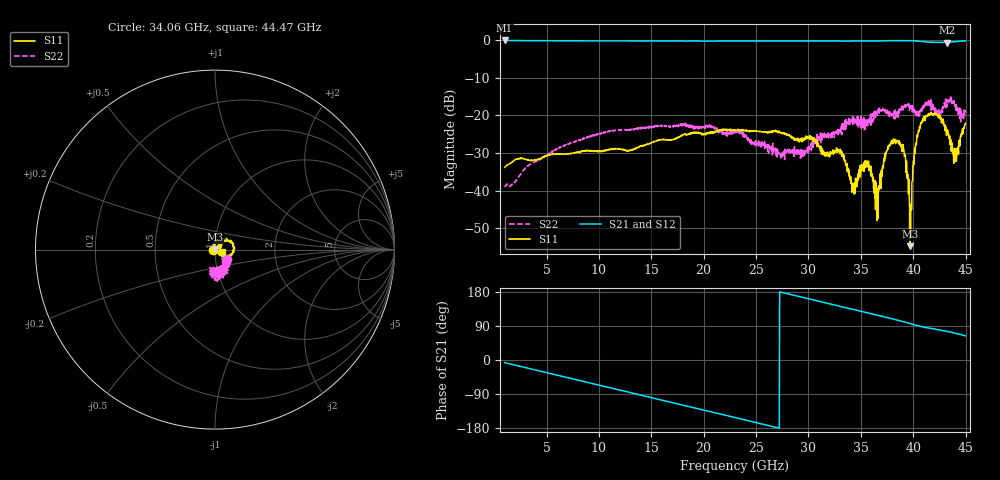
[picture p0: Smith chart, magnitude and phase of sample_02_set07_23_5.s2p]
!Keysight Technologies,N5247B,MY61255062,A.19.80.06
!Date: Friday, March 13, 2026 17:47:46
!Correction: S11(C  2-Port  )
!S21(C  2-Port  )
!S12(C  2-Port  )
!S22(C  2-Port  )
!S2P File: Measurements: S11, S21, S12, S22:
# Hz S  dB  R 50
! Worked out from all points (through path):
!   1467 points, 1 GHz to 44.98 GHz, reference 50 ohm
!   highest |S21| = -0.09 dB at 1 GHz (marker M1); lowest = -0.6 dB at 43.24 GHz (marker M2)
!   group delay of S21, straight-line fit = 18.3 ps
!   lowest |S11| = -54.7 dB at 39.67 GHz (marker M3), VSWR 1.00, Z = 49.8 + j0.0852 ohm
!   |S11| at or under -10 dB: start of sweep to end of sweep
!   |S22| runs from -38.9 to -14.9 dB; largest |S21 - S12| = 0.0099
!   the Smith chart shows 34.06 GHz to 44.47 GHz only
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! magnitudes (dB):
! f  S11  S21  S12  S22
! 1 GHz  -33.8  -0.1  -0.1  -38.7
! 8.35 GHz  -29.4  -0.2  -0.2  -26.4
! 15.67 GHz  -26.6  -0.2  -0.2  -22.9
! 22.99 GHz  -23.8  -0.2  -0.2  -23.9
! 27.43 GHz  -24.6  -0.2  -0.2  -30.1
! 30.34 GHz  -26.2  -0.2  -0.2  -27.0
! 31.72 GHz  -29.9  -0.2  -0.2  -24.7
! 33.1 GHz  -30.2  -0.2  -0.3  -24.4
! 34.24 GHz  -38.2  -0.2  -0.3  -22.4
! 35.65 GHz  -32.4  -0.2  -0.2  -20.8
! 36.49 GHz  -43.6  -0.2  -0.2  -19.7
! 37.66 GHz  -28.0  -0.1  -0.1  -20.0
! 39.04 GHz  -29.4  -0.2  -0.1  -17.9
! 39.37 GHz  -32.3  -0.2  -0.2  -17.4
! 39.67 GHz  -54.7  -0.1  -0.2  -17.2
! 39.88 GHz  -37.7  -0.2  -0.2  -17.6
! 40.18 GHz  -30.0  -0.2  -0.2  -19.3
! 40.87 GHz  -21.4  -0.4  -0.4  -17.9
! 42.22 GHz  -19.6  -0.6  -0.6  -19.5
! 43.24 GHz  -23.7  -0.6  -0.6  -17.6
! 43.99 GHz  -30.3  -0.4  -0.4  -17.0
! 44.98 GHz  -22.0  -0.2  -0.2  -20.0
